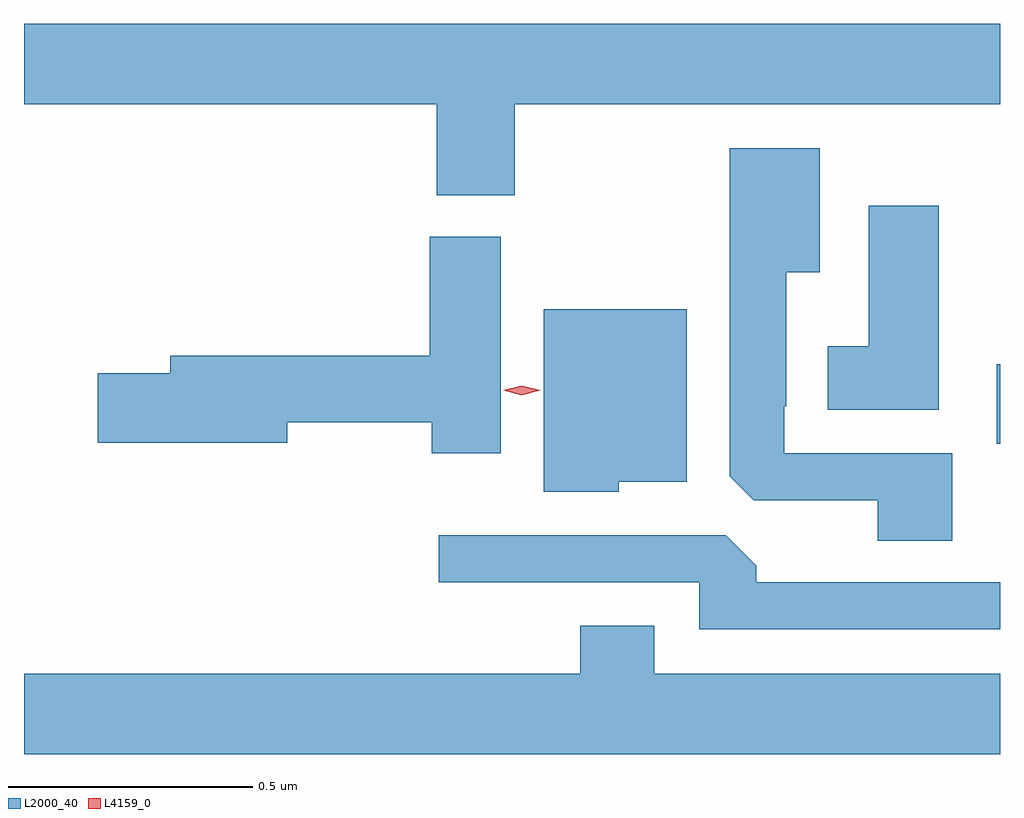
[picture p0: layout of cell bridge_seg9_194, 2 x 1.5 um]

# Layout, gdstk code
import gdstk
lib = gdstk.Library(unit=1e-6, precision=1e-09)
def R(c, l, rs):  # rectangles x0, y0, x1, y1
    for r in rs: c.add(gdstk.rectangle(r[:2], r[2:], *l))
def P(c, l, *ps):  # polygons
    for p in ps: c.add(gdstk.Polygon(p, *l))
L2000_40 = (2000, 40)
L4159_0 = (4159, 0)

bridge_seg9_194 = lib.new_cell('bridge_seg9_194')
R(bridge_seg9_194, L2000_40, [(210.468,1195.724,210.475,1195.887)])
P(bridge_seg9_194, L2000_40, [(208.475,1196.42),(209.321,1196.42),(209.321,1196.233),(209.481,1196.233),(209.481,1196.42),(210.475,1196.42),(210.475,1196.584),(208.475,1196.584)],
  [(210.377,1195.704),(210.033,1195.704),(210.033,1195.801),(210.037,1195.801),(210.037,1196.075),(210.106,1196.075),(210.106,1196.329),(209.921,1196.329),(209.921,1195.657),(209.97,1195.608),(210.224,1195.608),(210.224,1195.525),(210.377,1195.525)],
  [(210.349,1196.212),(210.206,1196.212),(210.206,1195.924),(210.122,1195.924),(210.122,1195.793),(210.349,1195.793)],
  [(209.452,1196.148),(209.306,1196.148),(209.306,1195.904),(208.775,1195.904),(208.775,1195.868),(208.626,1195.868),(208.626,1195.726),(209.014,1195.726),(209.014,1195.768),(209.311,1195.768),(209.311,1195.704),(209.452,1195.704)],
  [(209.694,1195.646),(209.833,1195.646),(209.833,1195.999),(209.54,1195.999),(209.54,1195.625),(209.694,1195.625)],
  [(210.475,1195.44),(209.975,1195.44),(209.975,1195.474),(209.913,1195.536),(209.325,1195.536),(209.325,1195.44),(209.859,1195.44),(209.859,1195.344),(210.475,1195.344)],
  [(210.475,1195.252),(209.767,1195.252),(209.767,1195.351),(209.615,1195.351),(209.615,1195.252),(208.475,1195.252),(208.475,1195.088),(210.475,1195.088)])
P(bridge_seg9_194, L4159_0, [(209.495,1195.823),(209.457,1195.833),(209.457,1195.833),(209.457,1195.833),(209.495,1195.843),(209.533,1195.833),(209.533,1195.833),(209.533,1195.833)])

lib.write_gds('bridge_seg9_194.gds')
